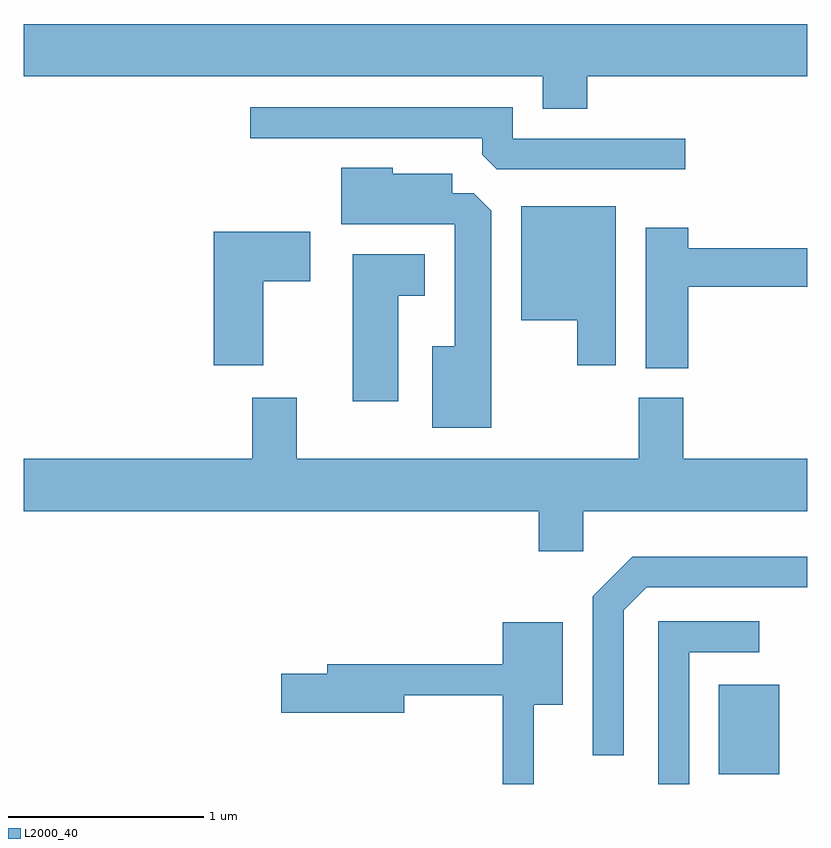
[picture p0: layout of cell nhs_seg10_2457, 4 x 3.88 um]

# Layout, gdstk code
import gdstk
lib = gdstk.Library(unit=1e-6, precision=1e-09)
def R(c, l, rs):  # rectangles x0, y0, x1, y1
    for r in rs: c.add(gdstk.rectangle(r[:2], r[2:], *l))
def P(c, l, *ps):  # polygons
    for p in ps: c.add(gdstk.Polygon(p, *l))
L2000_40 = (2000, 40)

nhs_seg10_2457 = lib.new_cell('nhs_seg10_2457')
R(nhs_seg10_2457, L2000_40, [(261.161,2112.571,261.469,2113.029)])
P(nhs_seg10_2457, L2000_40, [(260.489,2116.136),(261.611,2116.136),(261.611,2116.404),(257.611,2116.404),(257.611,2116.136),(260.261,2116.136),(260.261,2115.971),(260.489,2115.971)],
  [(260.988,2115.819),(260.109,2115.819),(260.109,2115.979),(258.767,2115.979),(258.767,2115.821),(259.951,2115.821),(259.951,2115.737),(260.027,2115.661),(260.988,2115.661)],
  [(259.999,2115.449),(259.909,2115.539),(259.799,2115.539),(259.799,2115.639),(259.494,2115.639),(259.494,2115.669),(259.231,2115.669),(259.231,2115.381),(259.811,2115.381),(259.811,2114.759),(259.696,2114.759),(259.696,2114.341),(259.999,2114.341)],
  [(260.634,2115.474),(260.151,2115.474),(260.151,2114.891),(260.436,2114.891),(260.436,2114.661),(260.634,2114.661)],
  [(261.004,2115.061),(261.611,2115.061),(261.611,2115.259),(261.004,2115.259),(261.004,2115.364),(260.786,2115.364),(260.786,2114.646),(261.004,2114.646)],
  [(258.834,2115.091),(259.074,2115.091),(259.074,2115.344),(258.581,2115.344),(258.581,2114.661),(258.834,2114.661)],
  [(259.524,2115.016),(259.659,2115.016),(259.659,2115.229),(259.291,2115.229),(259.291,2114.476),(259.524,2114.476)],
  [(260.469,2113.916),(261.611,2113.916),(261.611,2114.184),(260.979,2114.184),(260.979,2114.494),(260.751,2114.494),(260.751,2114.184),(259.004,2114.184),(259.004,2114.494),(258.776,2114.494),(258.776,2114.184),(257.611,2114.184),(257.611,2113.916),(260.241,2113.916),(260.241,2113.711),(260.469,2113.711)],
  [(260.674,2113.409),(260.791,2113.526),(261.611,2113.526),(261.611,2113.684),(260.719,2113.684),(260.516,2113.482),(260.516,2112.668),(260.674,2112.668)],
  [(261.009,2113.196),(261.368,2113.196),(261.368,2113.354),(260.851,2113.354),(260.851,2112.522),(261.009,2112.522)],
  [(260.214,2112.926),(260.364,2112.926),(260.364,2113.349),(260.056,2113.349),(260.056,2113.134),(259.161,2113.134),(259.161,2113.084),(258.926,2113.084),(258.926,2112.886),(259.554,2112.886),(259.554,2112.976),(260.056,2112.976),(260.056,2112.522),(260.214,2112.522)])

lib.write_gds('nhs_seg10_2457.gds')
